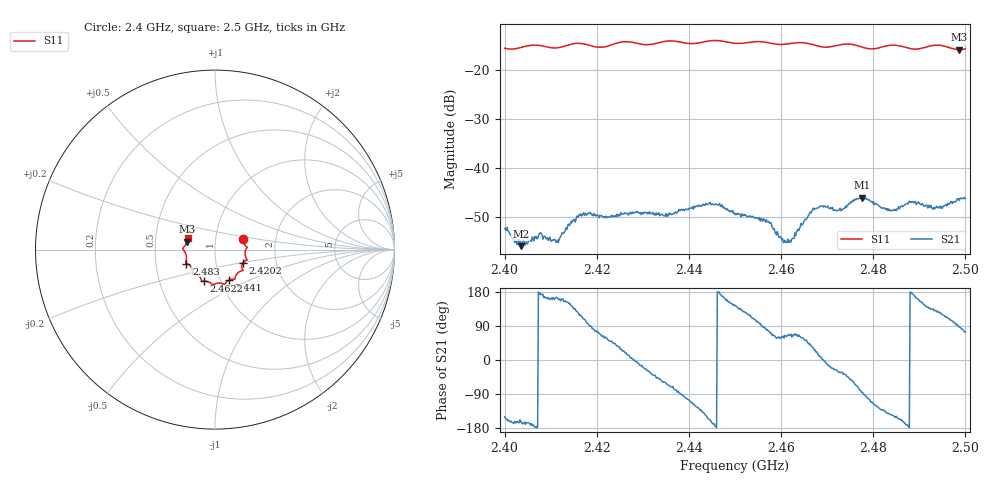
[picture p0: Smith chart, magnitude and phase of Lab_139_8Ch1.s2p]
# Hz S RI R 50
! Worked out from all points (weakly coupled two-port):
!   601 points, 2.4 GHz to 2.5 GHz, reference 50 ohm
!   highest |S21| = -46.00 dB at 2.4775 GHz (marker M1); lowest = -55.9 dB at 2.4035 GHz (marker M2)
!   lowest |S11| = -15.8 dB at 2.4987 GHz (marker M3), VSWR 1.39, Z = 36.4 + j3.32 ohm
!   |S11| at or under -10 dB: start of sweep to end of sweep
!   S12 and S22 are empty: the file has one direction only
!   S11 on the Smith chart (normalised r, x): 2.4 GHz: 1.36, +0.17; 2.4202 GHz: 1.35, -0.20; 2.441 GHz: 1.09, -0.39; 2.4622 GHz: 0.83, -0.30; 2.483 GHz: 0.72, -0.12; 2.5 GHz: 0.73, +0.09
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2.4e9  0.1559 0.06  -0.0021 -0.00122  0 0  0 0
2.4035e9  0.1687 0.0225  -0.00154 -0.000456  0 0  0 0
2.407667e9  0.1781 0.00993  -0.00217 0.000115  0 0  0 0
2.4115e9  0.1672 -0.0249  -0.00177 0.000535  0 0  0 0
2.416667e9  0.1777 -0.0582  -0.00142 0.00293  0 0  0 0
2.420167e9  0.1559 -0.072  0.000938 0.00317  0 0  0 0
2.433333e9  0.1129 -0.1526  0.00232 -0.0025  0 0  0 0
2.441e9  0.0766 -0.1704  -0.00163 -0.00346  0 0  0 0
2.446167e9  0.0516 -0.1939  -0.0042 1.77e-05  0 0  0 0
2.45e9  0.0264 -0.186  -0.0027 0.00199  0 0  0 0
2.457333e9  -0.0203 -0.1891  0.000722 0.00278  0 0  0 0
2.460167e9  -0.0447 -0.1772  0.00095 0.00159  0 0  0 0
2.462167e9  -0.0633 -0.1765  0.000668 0.00164  0 0  0 0
2.466667e9  -0.0764 -0.1669  0.00296 0.00214  0 0  0 0
2.472667e9  -0.119 -0.1361  0.00319 -0.00201  0 0  0 0
2.4775e9  -0.1249 -0.1184  0.000419 -0.00499  0 0  0 0
2.483e9  -0.1594 -0.0781  -0.00299 -0.00248  0 0  0 0
2.483333e9  -0.161 -0.0774  -0.00297 -0.00243  0 0  0 0
2.488167e9  -0.1591 -0.0456  -0.00456 9.63e-05  0 0  0 0
2.4945e9  -0.1792 0.00836  -0.00238 0.00335  0 0  0 0
2.498667e9  -0.1556 0.0444  0.000258 0.00469  0 0  0 0
2.5e9  -0.1527 0.0632  0.00138 0.00477  0 0  0 0
